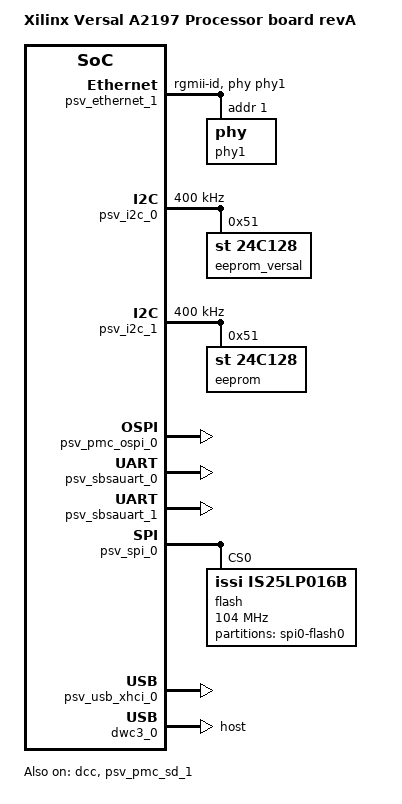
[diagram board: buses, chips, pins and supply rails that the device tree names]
// SPDX-License-Identifier: GPL-2.0
/*
 * dts file for Xilinx Versal X-PRC-04 revA (SE4)
 *
 * (C) Copyright 2019, Xilinx, Inc.
 *
 * Michal Simek <michal.simek@xilinx.com>
 */

/ {
	compatible = "xlnx,versal-vc-p-a2197-00-revA",
			"xlnx,versal-vc-p-a2197-00",
			"xlnx,versal-vc-p-a2197", "xlnx,versal";
	model = "Xilinx Versal A2197 Processor board revA";

	chosen {
		bootargs = "console=ttyAMA0 earlycon=pl011,mmio32,0xFF000000,115200n8 clk_ignore_unused";
		stdout-path = "serial0:115200";
	};

	aliases {
		serial0 = &psv_sbsauart_0;
		serial1 = &psv_sbsauart_1;
		ethernet1 = &psv_ethernet_1;
		i2c0 = &psv_i2c_0;
		i2c1 = &psv_i2c_1;
		mmc0 = &psv_pmc_sd_1;
		spi0 = &psv_pmc_ospi_0;
		spi1 = &psv_spi_0;
		usb0 = &psv_usb_xhci_0;
	};
};

&dcc {
	status = "okay";
};

&psv_ethernet_1 {
	status = "okay";
	phy-handle = <&phy1>; /* u175 */
	phy-mode = "rgmii-id"; /* RTL8211DN */
	phy1: phy@1 {
		reg = <1>; /* FIXME */
	};
};

&psv_gpio_0 {
	status = "okay";
};

&psv_gpio_1 {
	status = "okay";
};

&psv_i2c_0 {
	status = "okay";
	clock-frequency = <400000>;
	eeprom_versal: eeprom@51 { /* U153 */
		compatible = "st,24c128", "atmel,24c128";
		reg = <0x51>;
	};
};

&psv_i2c_1 {
	status = "okay";
	clock-frequency = <400000>;
	eeprom: eeprom@51 { /* U155 */
		compatible = "st,24c128", "atmel,24c128";
		reg = <0x51>;
	};
};

&psv_pmc_qspi_0 {
	status = "disabled"; /* u93 and u92 and u161 and u160 */
	num-cs = <1>;
	is-dual = <1>;
	is-stacked = <1>;
	spi-rx-bus-width = <4>;
	spi-tx-bus-width = <4>;

	flash@0 {
		compatible = "m25p80", "spi-flash";
		reg = <0>;
		spi-tx-bus-width = <4>;
		spi-rx-bus-width = <4>;
		spi-max-frequency = <108000000>;
	};
};

/* Mutually exclusive with qspi */
&psv_pmc_ospi_0 {
	status = "okay"; /* U163/U97 MT35XU02G */
};

&psv_pmc_sd_1 { /* J3 MIO26, MIO29 - MIO33 */
	status = "okay";
	disable-wp;
	xlnx,mio_bank = <1>; /* FIXME */
	no-1-8-v;
};

&psv_sbsauart_0 { /* MIO35 - MIO37 */
	status = "okay";
};

&psv_sbsauart_1 { /* MIO4 - MIO7 RS232 */
	status = "okay";
};

&psv_spi_0 {
	status = "okay";
	num-cs = <1>;

	flash@0 { /* U171 - IS25LP016B - 16Mb */
		#address-cells = <1>;
		#size-cells = <1>;
		compatible = "issi,is25lp016b", "m25p80", "spi-flash";
		spi-max-frequency = <104000000>;
		reg = <0>;

		partition@0 {
			label = "spi0-flash0";
			reg = <0 0x200000>;
		};
	};
};

&psv_usb_xhci_0 {
	status = "okay";
	xlnx,usb-polarity = <0x0>;
	xlnx,usb-reset-mode = <0x0>;
};

&dwc3_0 { /* USB 2.0 host - U99 */
	status = "okay";
	dr_mode = "host";
	maximum-speed = "high-speed";
	snps,dis_u2_susphy_quirk;
	snps,dis_u3_susphy_quirk;
	snps,usb3_lpm_capable;
	phy-names = "usb3-phy";
};

